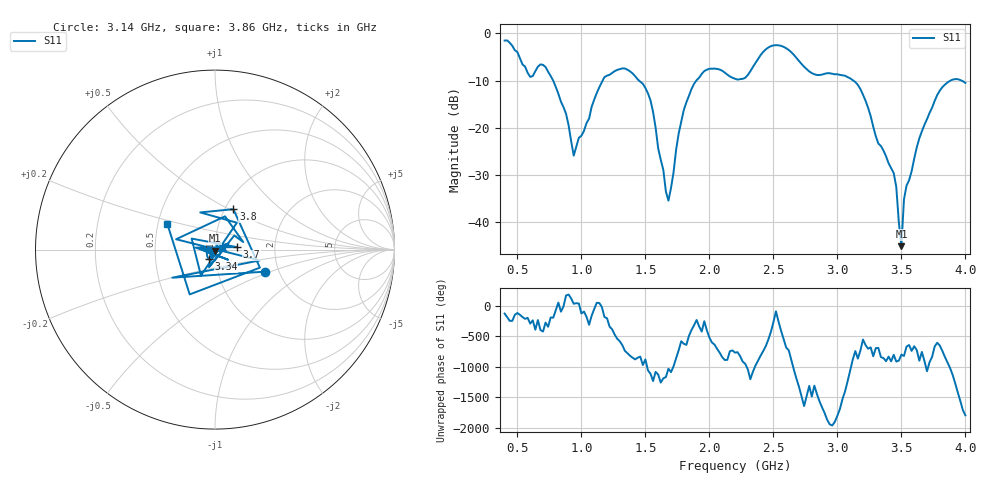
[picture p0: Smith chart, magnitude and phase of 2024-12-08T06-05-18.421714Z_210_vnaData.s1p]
!Created with skrf (http://scikit-rf.org).
# Hz S RI R 50.0
!freq ReS11 ImS11
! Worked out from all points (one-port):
!   181 points, 400 MHz to 4 GHz, reference 50 ohm
!   lowest |S11| = -45.0 dB at 3.5 GHz (marker M1), VSWR 1.01, Z = 50.1 - j0.558 ohm
!   |S11| at or under -10 dB: 779.5 MHz to 1.166 GHz (386.4 MHz wide, 39.7 % of centre); 1.45 GHz to 1.898 GHz (447.2 MHz wide, 26.7 % of centre); 3.125 GHz to 3.884 GHz (758.3 MHz wide, 21.6 % of centre) (the widest 3 of 4)
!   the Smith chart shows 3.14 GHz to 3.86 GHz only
!   S11 on the Smith chart (normalised r, x): 3.14 GHz: 1.70, -0.46; 3.34 GHz: 0.93, -0.10; 3.7 GHz: 1.28, +0.04; 3.8 GHz: 1.10, +0.53; 3.86 GHz: 0.56, +0.18
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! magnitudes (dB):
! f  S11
! 400 MHz  -1.5
! 600 MHz  -9.2
! 720 MHz  -7.1
! 860 MHz  -15.6
! 940 MHz  -25.9
! 1.18 GHz  -9.3
! 1.3 GHz  -7.6
! 1.52 GHz  -12.7
! 1.68 GHz  -35.4
! 1.76 GHz  -21.2
! 1.86 GHz  -11.8
! 1.96 GHz  -8.0
! 2.2 GHz  -9.6
! 2.48 GHz  -2.7
! 2.66 GHz  -4.6
! 2.82 GHz  -8.7
! 3.1 GHz  -9.5
! 3.14 GHz  -10.3
! 3.34 GHz  -23.8
! 3.44 GHz  -29.6
! 3.46 GHz  -32.5
! 3.5 GHz  -45.0
! 3.52 GHz  -35.1
! 3.56 GHz  -31.1
! 3.7 GHz  -18.2
! 3.8 GHz  -12.1
! 3.86 GHz  -10.4
! 4 GHz  -10.5
